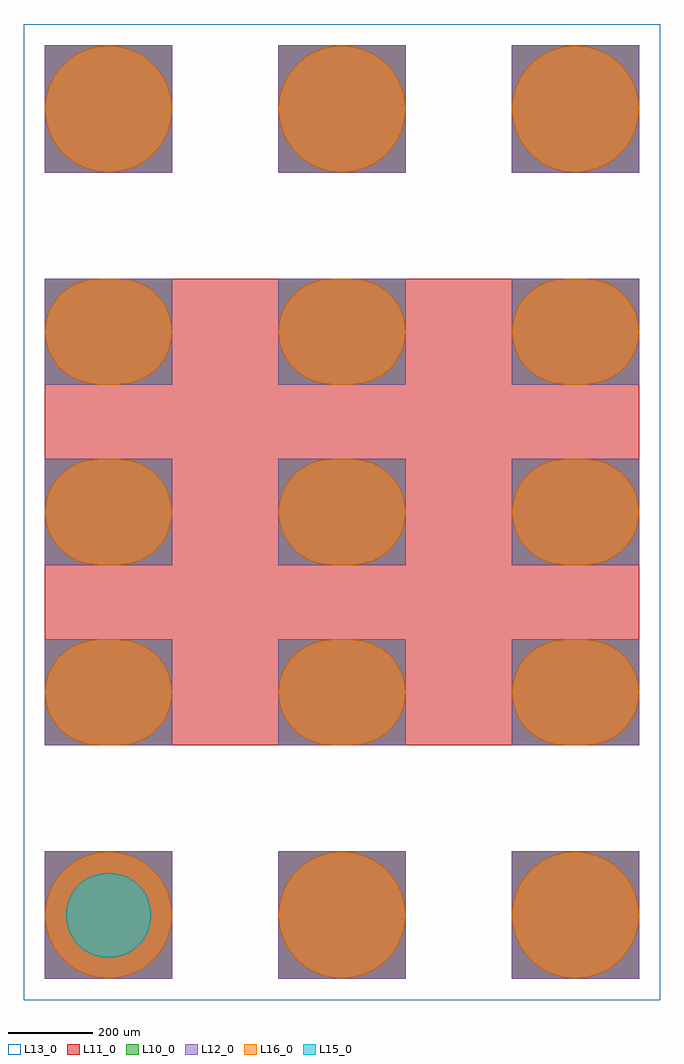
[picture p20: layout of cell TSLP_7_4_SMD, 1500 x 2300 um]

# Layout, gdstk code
import gdstk
lib = gdstk.Library(unit=1e-6, precision=1e-09)
def R(c, l, rs):  # rectangles x0, y0, x1, y1
    for r in rs: c.add(gdstk.rectangle(r[:2], r[2:], *l))
def A(c, l, x, y, w, h, nx, ny, dx, dy):  # array of equal rectangles
    R(c, l, [(x+i*dx, y+j*dy, x+i*dx+w, y+j*dy+h) for i in range(nx) for j in range(ny)])
def P(c, l, *ps):  # polygons
    for p in ps: c.add(gdstk.Polygon(p, *l))
L10_0 = (10, 0)
L11_0 = (11, 0)
L12_0 = (12, 0)
L13_0 = (13, 0)
L15_0 = (15, 0)
L16_0 = (16, 0)

tslp_7_4_smd = lib.new_cell('TSLP_7_4_SMD')
A(tslp_7_4_smd, L10_0, -700, -1100, 300, 300, 3, 2, 550, 1900)
A(tslp_7_4_smd, L10_0, -700, -550, 300, 250, 3, 3, 550, 425)
A(tslp_7_4_smd, L11_0, -700, -1100, 300, 300, 3, 2, 550, 1900)
R(tslp_7_4_smd, L11_0, [(-700,-550,700,550)])
A(tslp_7_4_smd, L12_0, -700, -1100, 300, 300, 3, 2, 550, 1900)
A(tslp_7_4_smd, L12_0, -700, -550, 300, 250, 3, 3, 550, 425)
R(tslp_7_4_smd, L13_0, [(-750,-1150,750,1150)])
P(tslp_7_4_smd, L15_0, [(-456,-984),(-463,-1000),(-473,-1014),(-486,-1027),(-500,-1037),(-516,-1044),(-533,-1049),(-550,-1050),(-567,-1049),(-584,-1044),(-600,-1037),(-614,-1027),(-627,-1014),(-637,-1000),(-644,-984),(-649,-967),(-650,-950),(-649,-933),(-644,-916),(-637,-900),(-627,-886),(-614,-873),(-600,-863),(-584,-856),(-567,-852),(-550,-850),(-533,-852),(-516,-856),(-500,-863),(-486,-873),(-473,-886),(-463,-900),(-456,-916),(-452,-933),(-450,-950),(-452,-967)])
P(tslp_7_4_smd, L16_0, [(691,-1001),(680,-1025),(665,-1046),(646,-1065),(625,-1080),(601,-1091),(576,-1098),(550,-1100),(524,-1098),(499,-1091),(475,-1080),(454,-1065),(435,-1046),(420,-1025),(409,-1001),(402,-976),(400,-950),(402,-924),(409,-899),(420,-875),(435,-854),(454,-835),(475,-820),(499,-809),(524,-802),(550,-800),(576,-802),(601,-809),(625,-820),(646,-835),(665,-854),(680,-875),(691,-899),(698,-924),(700,-950),(698,-976)],
  [(691,899),(680,875),(665,854),(646,835),(625,820),(601,809),(576,802),(550,800),(524,802),(499,809),(475,820),(454,835),(435,854),(420,875),(409,899),(402,924),(400,950),(402,976),(409,1001),(420,1025),(435,1046),(454,1065),(475,1080),(499,1091),(524,1098),(550,1100),(576,1098),(601,1091),(625,1080),(646,1065),(665,1046),(680,1025),(691,1001),(698,976),(700,950),(698,924)],
  [(141,-1001),(130,-1025),(115,-1046),(96,-1065),(75,-1080),(51,-1091),(26,-1098),(0,-1100),(-26,-1098),(-51,-1091),(-75,-1080),(-96,-1065),(-115,-1046),(-130,-1025),(-141,-1001),(-148,-976),(-150,-950),(-148,-924),(-141,-899),(-130,-875),(-115,-854),(-96,-835),(-75,-820),(-51,-809),(-26,-802),(0,-800),(26,-802),(51,-809),(75,-820),(96,-835),(115,-854),(130,-875),(141,-899),(148,-924),(150,-950),(148,-976)],
  [(141,899),(130,875),(115,854),(96,835),(75,820),(51,809),(26,802),(0,800),(-26,802),(-51,809),(-75,820),(-96,835),(-115,854),(-130,875),(-141,899),(-148,924),(-150,950),(-148,976),(-141,1001),(-130,1025),(-115,1046),(-96,1065),(-75,1080),(-51,1091),(-26,1098),(0,1100),(26,1098),(51,1091),(75,1080),(96,1065),(115,1046),(130,1025),(141,1001),(148,976),(150,950),(148,924)],
  [(-409,-1001),(-420,-1025),(-435,-1046),(-454,-1065),(-475,-1080),(-499,-1091),(-524,-1098),(-550,-1100),(-576,-1098),(-601,-1091),(-625,-1080),(-646,-1065),(-665,-1046),(-680,-1025),(-691,-1001),(-698,-976),(-700,-950),(-698,-924),(-691,-899),(-680,-875),(-665,-854),(-646,-835),(-625,-820),(-601,-809),(-576,-802),(-550,-800),(-524,-802),(-499,-809),(-475,-820),(-454,-835),(-435,-854),(-420,-875),(-409,-899),(-402,-924),(-400,-950),(-402,-976)],
  [(-409,899),(-420,875),(-435,854),(-454,835),(-475,820),(-499,809),(-524,802),(-550,800),(-576,802),(-601,809),(-625,820),(-646,835),(-665,854),(-680,875),(-691,899),(-698,924),(-700,950),(-698,976),(-691,1001),(-680,1025),(-665,1046),(-646,1065),(-625,1080),(-601,1091),(-576,1098),(-550,1100),(-524,1098),(-499,1091),(-475,1080),(-454,1065),(-435,1046),(-420,1025),(-409,1001),(-402,976),(-400,950),(-402,924)],
  [(445,-521),(463,-533),(482,-543),(503,-548),(525,-550),(575,-550),(597,-548),(618,-543),(638,-533),(655,-521),(671,-505),(683,-488),(693,-468),(698,-447),(700,-425),(698,-403),(693,-382),(683,-363),(671,-345),(655,-329),(638,-317),(618,-308),(597,-302),(575,-300),(525,-300),(503,-302),(482,-308),(463,-317),(445,-329),(429,-345),(417,-363),(408,-382),(402,-403),(400,-425),(402,-447),(408,-468),(417,-488),(429,-505)],
  [(-105,-521),(-88,-533),(-68,-543),(-47,-548),(-25,-550),(25,-550),(47,-548),(68,-543),(88,-533),(105,-521),(121,-505),(133,-488),(143,-468),(148,-447),(150,-425),(148,-403),(143,-382),(133,-363),(121,-345),(105,-329),(88,-317),(68,-308),(47,-302),(25,-300),(-25,-300),(-47,-302),(-68,-308),(-88,-317),(-105,-329),(-121,-345),(-133,-363),(-143,-382),(-148,-403),(-150,-425),(-148,-447),(-143,-468),(-133,-488),(-121,-505)],
  [(-655,-521),(-638,-533),(-618,-543),(-597,-548),(-575,-550),(-525,-550),(-503,-548),(-482,-543),(-463,-533),(-445,-521),(-429,-505),(-417,-488),(-408,-468),(-402,-447),(-400,-425),(-402,-403),(-408,-382),(-417,-363),(-429,-345),(-445,-329),(-463,-317),(-482,-308),(-503,-302),(-525,-300),(-575,-300),(-597,-302),(-618,-308),(-638,-317),(-655,-329),(-671,-345),(-683,-363),(-693,-382),(-698,-403),(-700,-425),(-698,-447),(-693,-468),(-683,-488),(-671,-505)],
  [(445,329),(463,317),(482,308),(503,302),(525,300),(575,300),(597,302),(618,308),(638,317),(655,329),(671,345),(683,363),(693,382),(698,403),(700,425),(698,447),(693,468),(683,488),(671,505),(655,521),(638,533),(618,543),(597,548),(575,550),(525,550),(503,548),(482,543),(463,533),(445,521),(429,505),(417,488),(408,468),(402,447),(400,425),(402,403),(408,382),(417,363),(429,345)],
  [(-105,329),(-88,317),(-68,308),(-47,302),(-25,300),(25,300),(47,302),(68,308),(88,317),(105,329),(121,345),(133,363),(143,382),(148,403),(150,425),(148,447),(143,468),(133,488),(121,505),(105,521),(88,533),(68,543),(47,548),(25,550),(-25,550),(-47,548),(-68,543),(-88,533),(-105,521),(-121,505),(-133,488),(-143,468),(-148,447),(-150,425),(-148,403),(-143,382),(-133,363),(-121,345)],
  [(-655,329),(-638,317),(-618,308),(-597,302),(-575,300),(-525,300),(-503,302),(-482,308),(-463,317),(-445,329),(-429,345),(-417,363),(-408,382),(-402,403),(-400,425),(-402,447),(-408,468),(-417,488),(-429,505),(-445,521),(-463,533),(-482,543),(-503,548),(-525,550),(-575,550),(-597,548),(-618,543),(-638,533),(-655,521),(-671,505),(-683,488),(-693,468),(-698,447),(-700,425),(-698,403),(-693,382),(-683,363),(-671,345)],
  [(-655,-96),(-638,-108),(-618,-118),(-597,-123),(-575,-125),(-525,-125),(-503,-123),(-482,-118),(-463,-108),(-445,-96),(-429,-80),(-417,-63),(-408,-43),(-402,-22),(-400,0),(-402,22),(-408,43),(-417,63),(-429,80),(-445,96),(-463,108),(-482,118),(-503,123),(-525,125),(-575,125),(-597,123),(-618,118),(-638,108),(-655,96),(-671,80),(-683,63),(-693,43),(-698,22),(-700,0),(-698,-22),(-693,-43),(-683,-63),(-671,-80)],
  [(445,-96),(463,-108),(482,-118),(503,-123),(525,-125),(575,-125),(597,-123),(618,-118),(638,-108),(655,-96),(671,-80),(683,-63),(693,-43),(698,-22),(700,0),(698,22),(693,43),(683,63),(671,80),(655,96),(638,108),(618,118),(597,123),(575,125),(525,125),(503,123),(482,118),(463,108),(445,96),(429,80),(417,63),(408,43),(402,22),(400,0),(402,-22),(408,-43),(417,-63),(429,-80)],
  [(-105,-96),(-88,-108),(-68,-118),(-47,-123),(-25,-125),(25,-125),(47,-123),(68,-118),(88,-108),(105,-96),(121,-80),(133,-63),(143,-43),(148,-22),(150,0),(148,22),(143,43),(133,63),(121,80),(105,96),(88,108),(68,118),(47,123),(25,125),(-25,125),(-47,123),(-68,118),(-88,108),(-105,96),(-121,80),(-133,63),(-143,43),(-148,22),(-150,0),(-148,-22),(-143,-43),(-133,-63),(-121,-80)])

lib.write_gds('TSLP_7_4_SMD.gds')
